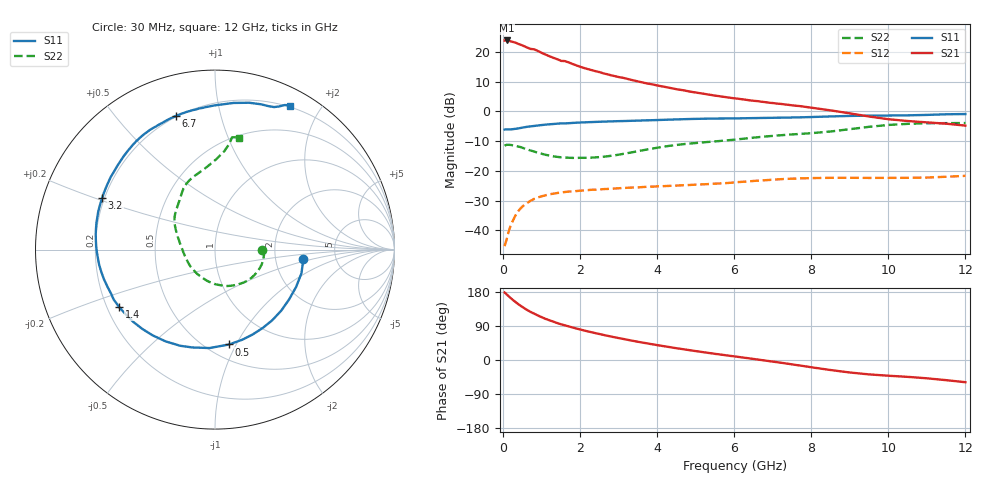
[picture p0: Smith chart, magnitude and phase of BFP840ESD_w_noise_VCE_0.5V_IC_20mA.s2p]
! Infineon Technologies  Discrete & RF Semiconductors
! BFP840ESD
! VCE =  0.5 V,  IC =  20 mA
! Common Emitter S-Parameters:  May 2012
# GHz  S  MA  R  50
!  f  S11  S21  S12  S22
! GHz  MAG  ANG  MAG  ANG  MAG  ANG  MAG  ANG
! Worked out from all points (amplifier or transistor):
!   93 points, 30 MHz to 12 GHz, reference 50 ohm
!   highest |S21| = 23.9 dB at 80 MHz (marker M1)
!   |S21| within 3 dB of that: start of sweep to 802.8 MHz
!   unconditionally stable (mu >= 1): start of sweep to 671.5 MHz; 1.409 GHz to end of sweep
!   at 1.1 GHz: K = 0.95, MSG = 23.7 dB, |S12| = -28.2 dB
!   at 4.2 GHz: K = 1.72, MAG = 11.7 dB, |S12| = -25.1 dB
!   at 12 GHz: K = 1.57, MAG = 4.0 dB, |S12| = -21.7 dB
!   lowest NFmin = 1.16 dB at 450 MHz
!   S11 on the Smith chart (normalised r, x): 30 MHz: 2.90, -0.39; 500 MHz: 0.63, -0.94; 1.4 GHz: 0.25, -0.26; 3.2 GHz: 0.19, +0.21; 6.7 GHz: 0.19, +0.73; 12 GHz: 0.19, +1.64
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0.03  0.4952 -5.9  15.59 178.1  0.0054 21.0  0.2646 -0.5
0.08  0.4994 -15.3  15.64 173.4  0.0069 38.1  0.2746 -6.4
0.18  0.4975 -34.0  15.16 164.1  0.0117 52.0  0.2733 -17.4
0.28  0.5067 -51.0  14.54 155.7  0.0162 54.1  0.2663 -27.5
0.38  0.5174 -66.1  13.75 147.9  0.0208 52.1  0.257 -37.5
0.5  0.5344 -81.6  12.86 139.4  0.0253 49.2  0.2436 -48.8
0.7  0.5597 -103.1  11.28 127.1  0.0312 43.9  0.2204 -66.2
0.8  0.5699 -109.9  11.09 122.2  0.0338 40.9  0.2113 -74.1
1  0.5906 -125.9  9.628 112.6  0.0374 36.0  0.1934 -89.0
1.1  0.5995 -132.5  9.018 108.3  0.0389 33.7  0.1858 -96.0
1.4  0.6223 -148.9  7.546 97.4  0.0424 29.0  0.1718 -115.5
1.7  0.6341 -161.1  6.656 88.5  0.0448 25.3  0.1658 -131.8
2.1  0.6544 -176.0  5.365 77.8  0.047 21.4  0.1656 -150.3
2.5  0.6702 172.5  4.579 68.4  0.0488 19.0  0.1705 -166.9
3.2  0.691 155.6  3.558 53.8  0.0518 15.4  0.1977 170.1
4.1  0.72 137.6  2.652 37.5  0.0551 11.5  0.2513 151.4
4.9  0.7468 125.8  2.126 24.9  0.0581 9.2  0.2902 140.8
6.1  0.7642 112.8  1.636 8.2  0.0647 5.7  0.3407 125.5
6.7  0.7763 106.3  1.457 -0.1  0.0689 2.5  0.3731 119.1
8.5  0.8236 82.8  1.041 -26.5  0.0763 -11.0  0.4596 96.2
10.5  0.8595 67.5  0.69 -44.5  0.0763 -21.2  0.6179 81.7
12  0.9038 62.4  0.577 -58.6  0.0824 -26.3  0.6379 78.0
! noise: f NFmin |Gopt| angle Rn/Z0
0.45  1.16  0.06  2  0.13
0.9  1.17  0.03  -10  0.13
1.5  1.18  0.03  -24  0.12
1.9  1.18  0.02  -48  0.12
2.4  1.19  0.03  -94  0.11
3.5  1.19  0.07  -118  0.11
5.5  1.23  0.15  -118  0.13
8  1.32  0.31  -109  0.16
10  1.41  0.53  -77  0.26
12  1.58  0.66  -65  0.36
